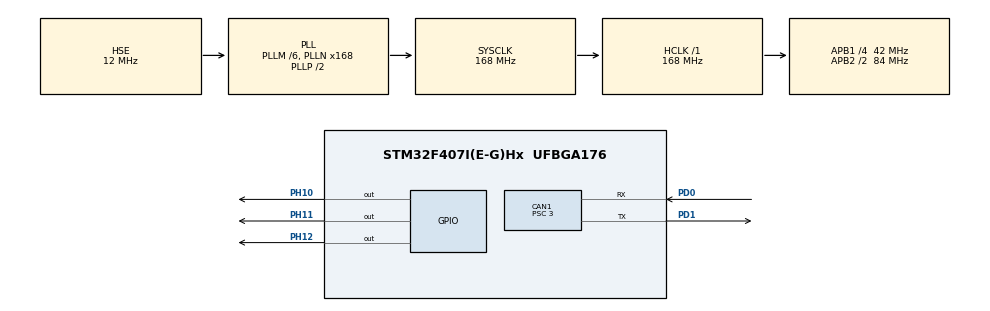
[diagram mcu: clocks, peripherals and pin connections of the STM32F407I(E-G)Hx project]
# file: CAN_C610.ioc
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CAN1.BS1=CAN_BS1_10TQ
CAN1.BS2=CAN_BS2_3TQ
CAN1.CalculateBaudRate=1000000
CAN1.CalculateTimeBit=1000
CAN1.CalculateTimeQuantum=71.42857142857143
CAN1.Prescaler=3
Mcu.Family=STM32F4
Mcu.Name=STM32F407I(E-G)Hx
Mcu.Package=UFBGA176
NVIC.CAN1_RX0_IRQn=true\:0\:0\:false\:false\:true\:true\:true\:true
NVIC.CAN1_RX1_IRQn=true\:0\:0\:false\:false\:true\:true\:true\:true
NVIC.CAN1_TX_IRQn=true\:0\:0\:false\:false\:true\:true\:true\:true
NVIC.PriorityGroup=NVIC_PRIORITYGROUP_4
PA13.Mode=Serial_Wire
PA13.Signal=SYS_JTMS-SWDIO
PA14.Mode=Serial_Wire
PA14.Signal=SYS_JTCK-SWCLK
PD0.Mode=CAN_Activate
PD0.Signal=CAN1_RX
PD1.Mode=CAN_Activate
PD1.Signal=CAN1_TX
PH0-OSC_IN.Mode=HSE-External-Oscillator
PH0-OSC_IN.Signal=RCC_OSC_IN
PH1-OSC_OUT.Mode=HSE-External-Oscillator
PH1-OSC_OUT.Signal=RCC_OSC_OUT
PH10.Signal=GPIO_Output
PH11.Signal=GPIO_Output
PH12.Signal=GPIO_Output
ProjectManager.HeapSize=0x200
ProjectManager.StackSize=0x400
ProjectManager.TargetToolchain=MDK-ARM V5.32
RCC.48MHZClocksFreq_Value=84000000
RCC.AHBFreq_Value=168000000
RCC.APB1CLKDivider=RCC_HCLK_DIV4
RCC.APB1Freq_Value=42000000
RCC.APB1TimFreq_Value=84000000
RCC.APB2CLKDivider=RCC_HCLK_DIV2
RCC.APB2Freq_Value=84000000
RCC.APB2TimFreq_Value=168000000
RCC.CortexFreq_Value=168000000
RCC.HCLKFreq_Value=168000000
RCC.HSE_VALUE=12000000
RCC.HSI_VALUE=16000000
RCC.PLLM=6
RCC.PLLN=168
RCC.PLLSourceVirtual=RCC_PLLSOURCE_HSE
RCC.SYSCLKFreq_VALUE=168000000
RCC.SYSCLKSource=RCC_SYSCLKSOURCE_PLLCLK
RCC.VCOOutputFreq_Value=336000000
board=custom

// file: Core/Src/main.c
/* USER CODE BEGIN Header */
/**
  ******************************************************************************
  * @file           : main.c
  * @brief          : Main program body
  ******************************************************************************
  * @attention
  *
  * Copyright (c) 2024 STMicroelectronics.
  * All rights reserved.
  *
  * This software is licensed under terms that can be found in the LICENSE file
  * in the root directory of this software component.
  * If no LICENSE file comes with this software, it is provided AS-IS.
  *
  ******************************************************************************
  */
/* USER CODE END Header */
#include "main.h"
#include "can.h"
#include "gpio.h"

/* USER CODE BEGIN Includes */
#include "drv_can.h"
/* USER CODE END Includes */

/* USER CODE BEGIN PTD */
typedef struct
{
 uint16_t ecd;
 int16_t speed_rpm;
 int16_t given_current;//
 uint8_t temperate;//
 int16_t last_ecd;
} motor_measure_t;
/* USER CODE END PTD */

/* USER CODE BEGIN PD */
//get_motor_measure
#define CAN_CHASSIS_ALL_ID 0x1FF
#define CHASSIS_CAN        hcan1

#define CAN_6020_M1_ID     0x205
#define CAN_6020_M2_ID     0x206
#define CAN_6020_M3_ID     0x207
#define CAN_6020_M4_ID     0x208

#define CAN_C610_M1_ID     0x201
#define CAN_C610_M2_ID     0x202
#define CAN_C610_M3_ID     0x203
#define CAN_C610_M4_ID     0x204
#define get_motor_measure(ptr, data) \
 { \
 (ptr)->last_ecd = (ptr)->ecd; \
 (ptr)->ecd = (uint16_t)((data)[0] << 8 | (data)[1]); \
 (ptr)->speed_rpm = (uint16_t)((data)[2] << 8 | (data)[3]); \
 (ptr)->given_current = (uint16_t)((data)[4] << 8 | (data)[5]); \
 (ptr)->temperate = (data)[6]; \
 }
/* USER CODE END PD */

/* USER CODE BEGIN PV */
CAN_TxHeaderTypeDef chassis_tx_message;
 motor_measure_t motor_chassis[8];//
 uint8_t tic=0;
 uint16_t v6020_1=2500;
/* USER CODE END PV */

void SystemClock_Config(void);
/* USER CODE BEGIN PFP */
void motorcan(void);
void CAN_cmd_chassis(int16_t motor1, int16_t motor2, int16_t motor3, int16_t motor4);
/* USER CODE END PFP */

int main(void)
{

  /* MCU Configuration--------------------------------------------------------*/

  /* Reset of all peripherals, Initializes the Flash interface and the Systick. */
  HAL_Init();

  /* Configure the system clock */
  SystemClock_Config();

  /* Initialize all configured peripherals */
  MX_GPIO_Init();
  MX_CAN1_Init();
  /* USER CODE BEGIN 2 */
  CAN_Init(&CHASSIS_CAN);
  /* USER CODE END 2 */

  /* Infinite loop */
  /* USER CODE BEGIN WHILE */
  while (1)
  {
      motorcan();

    /* USER CODE END WHILE */

  }
}

void SystemClock_Config(void)
{
  RCC_OscInitTypeDef RCC_OscInitStruct = {0};
  RCC_ClkInitTypeDef RCC_ClkInitStruct = {0};

  /** Configure the main internal regulator output voltage
  */
  __HAL_RCC_PWR_CLK_ENABLE();
  __HAL_PWR_VOLTAGESCALING_CONFIG(PWR_REGULATOR_VOLTAGE_SCALE1);

  /** Initializes the RCC Oscillators according to the specified parameters
  * in the RCC_OscInitTypeDef structure.
  */
  RCC_OscInitStruct.OscillatorType = RCC_OSCILLATORTYPE_HSE;
  RCC_OscInitStruct.HSEState = RCC_HSE_ON;
  RCC_OscInitStruct.PLL.PLLState = RCC_PLL_ON;
  RCC_OscInitStruct.PLL.PLLSource = RCC_PLLSOURCE_HSE;
  RCC_OscInitStruct.PLL.PLLM = 6;
  RCC_OscInitStruct.PLL.PLLN = 168;
  RCC_OscInitStruct.PLL.PLLP = RCC_PLLP_DIV2;
  RCC_OscInitStruct.PLL.PLLQ = 4;
  if (HAL_RCC_OscConfig(&RCC_OscInitStruct) != HAL_OK)
  {
    Error_Handler();
  }

  /** Initializes the CPU, AHB and APB buses clocks
  */
  RCC_ClkInitStruct.ClockType = RCC_CLOCKTYPE_HCLK|RCC_CLOCKTYPE_SYSCLK
                              |RCC_CLOCKTYPE_PCLK1|RCC_CLOCKTYPE_PCLK2;
  RCC_ClkInitStruct.SYSCLKSource = RCC_SYSCLKSOURCE_PLLCLK;
  RCC_ClkInitStruct.AHBCLKDivider = RCC_SYSCLK_DIV1;
  RCC_ClkInitStruct.APB1CLKDivider = RCC_HCLK_DIV4;
  RCC_ClkInitStruct.APB2CLKDivider = RCC_HCLK_DIV2;

  if (HAL_RCC_ClockConfig(&RCC_ClkInitStruct, FLASH_LATENCY_5) != HAL_OK)
  {
    Error_Handler();
  }
}

/* USER CODE BEGIN 4 */
//prepare freertos
void motorcan(void)
{
    HAL_Delay(50);
  CAN_cmd_chassis(v6020_1,10000,10000,10000);
    //if(motor_chassis[4].ecd>4000)
}
//
void CAN_cmd_chassis(int16_t motor1, int16_t motor2, int16_t motor3, int16_t motor4)
{
  /*uint32_t send_mail_box=CAN_TX_MAILBOX0;
 chassis_tx_message.StdId = CAN_CHASSIS_ALL_ID;
 chassis_tx_message.IDE = CAN_ID_STD;
 chassis_tx_message.RTR = CAN_RTR_DATA;
 chassis_tx_message.DLC = 0x08;*/
 uint8_t chassis_can_send_data[8];
 chassis_can_send_data[0] = motor1 >> 8;
 chassis_can_send_data[1] = motor1;
 chassis_can_send_data[2] = motor2 >> 8;
 chassis_can_send_data[3] = motor2;
 chassis_can_send_data[4] = motor3 >> 8;
 chassis_can_send_data[5] = motor3;
 chassis_can_send_data[6] = motor4 >> 8;
 chassis_can_send_data[7] = motor4;
 if(CAN_SEND_Data(&CHASSIS_CAN,CAN_CHASSIS_ALL_ID,chassis_can_send_data,8)!=HAL_OK)
 return;
tic += 1;
}
//
void HAL_CAN_RxFifo0MsgPendingCallback(CAN_HandleTypeDef *hcan)
{
 CAN_RxHeaderTypeDef rx_header;
 uint8_t rx_data[8];

 HAL_CAN_GetRxMessage(hcan, CAN_RX_FIFO0, &rx_header, rx_data);
 switch (rx_header.StdId)
 {
 case CAN_6020_M1_ID:
 case CAN_6020_M2_ID:
 case CAN_6020_M3_ID:
 case CAN_6020_M4_ID:
 case CAN_C610_M1_ID:
 case CAN_C610_M2_ID:
 case CAN_C610_M3_ID:
 case CAN_C610_M4_ID:
 {
 static uint8_t i = 0;
 //get motor id
 i = rx_header.StdId - CAN_C610_M1_ID;
 get_motor_measure(&motor_chassis[i], rx_data);
 tic =0;
 break;
 }
 default:
 {
 break;
 }
 }
}

/* USER CODE END 4 */

void Error_Handler(void)
{
  __disable_irq();
  while (1)
  {
  }
}
